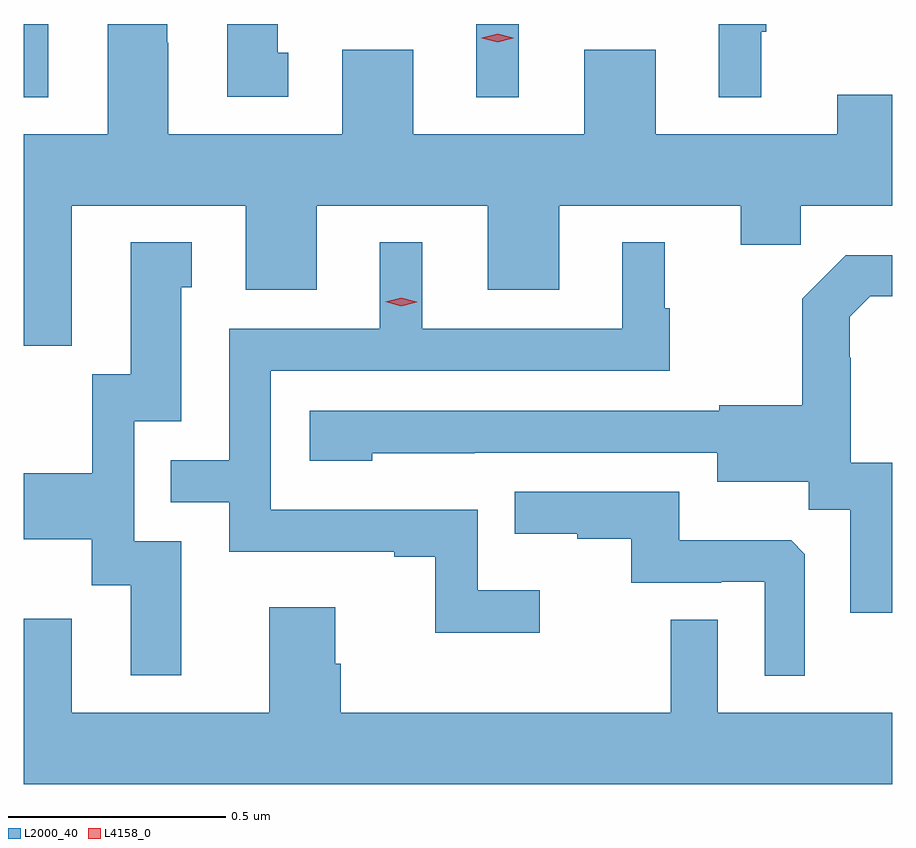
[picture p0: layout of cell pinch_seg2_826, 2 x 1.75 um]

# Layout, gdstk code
import gdstk
lib = gdstk.Library(unit=1e-6, precision=1e-09)
def R(c, l, rs):  # rectangles x0, y0, x1, y1
    for r in rs: c.add(gdstk.rectangle(r[:2], r[2:], *l))
def P(c, l, *ps):  # polygons
    for p in ps: c.add(gdstk.Polygon(p, *l))
L2000_40 = (2000, 40)
L4158_0 = (4158, 0)

pinch_seg2_826 = lib.new_cell('pinch_seg2_826')
R(pinch_seg2_826, L2000_40, [(684.55,615.917,684.607,616.086), (685.592,615.917,685.69,616.086)])
P(pinch_seg2_826, L2000_40, [(686.248,616.068),(686.26,616.068),(686.26,616.086),(686.15,616.086),(686.15,615.917),(686.248,615.917)],
  [(684.661,615.668),(685.061,615.668),(685.061,615.474),(685.225,615.474),(685.225,615.668),(685.619,615.668),(685.619,615.474),(685.783,615.474),(685.783,615.668),(686.201,615.668),(686.201,615.578),(686.339,615.578),(686.339,615.668),(686.55,615.668),(686.55,615.923),(686.423,615.923),(686.423,615.832),(686.005,615.832),(686.005,616.027),(685.841,616.027),(685.841,615.832),(685.447,615.832),(685.447,616.027),(685.283,616.027),(685.283,615.832),(684.883,615.832),(684.883,616.043),(684.88,616.043),(684.88,616.086),(684.743,616.086),(684.743,615.832),(684.55,615.832),(684.55,615.345),(684.661,615.345)],
  [(685.159,616.02),(685.135,616.02),(685.135,616.086),(685.019,616.086),(685.019,615.918),(685.159,615.918)],
  [(684.913,614.895),(684.804,614.895),(684.804,615.171),(684.913,615.171),(684.913,615.48),(684.937,615.48),(684.937,615.583),(684.797,615.583),(684.797,615.279),(684.708,615.279),(684.708,615.052),(684.55,615.052),(684.55,614.9),(684.707,614.9),(684.707,614.794),(684.797,614.794),(684.797,614.586),(684.913,614.586)],
  [(685.738,614.782),(685.596,614.782),(685.596,614.967),(685.119,614.967),(685.119,615.288),(686.038,615.288),(686.038,615.432),(686.026,615.432),(686.026,615.583),(685.928,615.583),(685.928,615.384),(685.468,615.384),(685.468,615.583),(685.37,615.583),(685.37,615.384),(685.023,615.384),(685.023,615.081),(684.889,615.081),(684.889,614.985),(685.023,614.985),(685.023,614.871),(685.403,614.871),(685.403,614.859),(685.498,614.859),(685.498,614.684),(685.738,614.684)],
  [(686.55,615.076),(686.454,615.076),(686.454,615.317),(686.452,615.317),(686.452,615.412),(686.499,615.459),(686.55,615.459),(686.55,615.553),(686.443,615.553),(686.343,615.453),(686.343,615.208),(686.151,615.208),(686.151,615.195),(685.209,615.195),(685.209,615.08),(685.353,615.08),(685.353,615.098),(685.589,615.098),(685.589,615.099),(686.147,615.099),(686.147,615.032),(686.358,615.032),(686.358,614.968),(686.453,614.968),(686.453,614.73),(686.55,614.73)],
  [(686.349,614.865),(686.317,614.897),(686.059,614.897),(686.059,615.009),(685.681,615.009),(685.681,614.912),(685.825,614.912),(685.825,614.901),(685.949,614.901),(685.949,614.799),(686.156,614.799),(686.156,614.802),(686.256,614.802),(686.256,614.585),(686.349,614.585)],
  [(686.55,614.5),(686.148,614.5),(686.148,614.714),(686.04,614.714),(686.04,614.5),(685.28,614.5),(685.28,614.613),(685.267,614.613),(685.267,614.743),(685.115,614.743),(685.115,614.5),(684.661,614.5),(684.661,614.716),(684.55,614.716),(684.55,614.336),(686.55,614.336)])
P(pinch_seg2_826, L4158_0, [(685.641,616.044),(685.605,616.053),(685.605,616.054),(685.605,616.054),(685.641,616.064),(685.677,616.054),(685.677,616.054),(685.677,616.053)],
  [(685.419,615.436),(685.383,615.447),(685.383,615.447),(685.383,615.447),(685.419,615.456),(685.455,615.446),(685.455,615.445),(685.455,615.445)])

lib.write_gds('pinch_seg2_826.gds')
